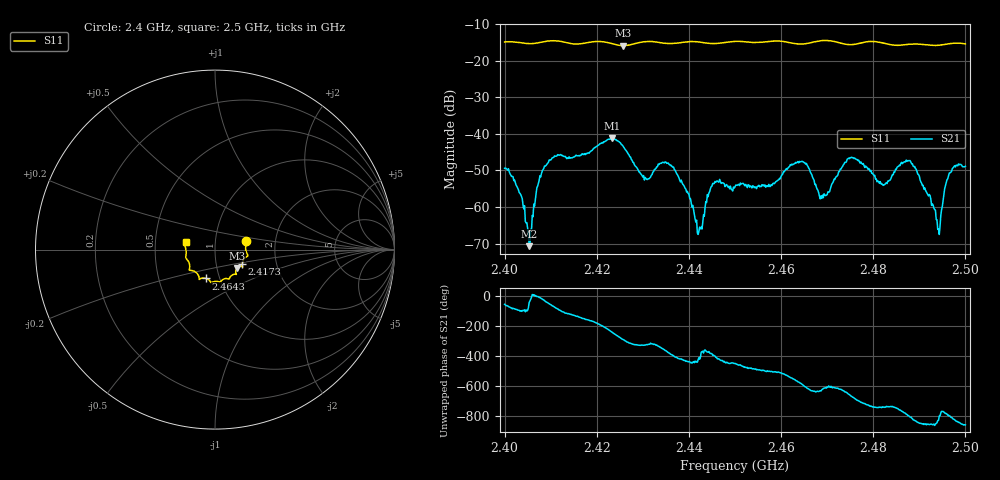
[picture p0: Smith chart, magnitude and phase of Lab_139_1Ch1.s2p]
# Hz S RI R 50
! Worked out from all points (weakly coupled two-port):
!   601 points, 2.4 GHz to 2.5 GHz, reference 50 ohm
!   highest |S21| = -41.19 dB at 2.4233 GHz (marker M1); lowest = -70.7 dB at 2.4053 GHz (marker M2)
!   lowest |S11| = -15.9 dB at 2.4257 GHz (marker M3), VSWR 1.38, Z = 62.5 - j13.1 ohm
!   |S11| at or under -10 dB: start of sweep to end of sweep
!   S12 and S22 are empty: the file has one direction only
!   S11 on the Smith chart (normalised r, x): 2.4 GHz: 1.41, +0.14; 2.4173 GHz: 1.34, -0.23; 2.4643 GHz: 0.86, -0.28; 2.5 GHz: 0.72, +0.06
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2.4e9  0.1733 0.0493  0.00188 -0.0028  0 0  0 0
2.405333e9  0.1704 0.0095  0.00021 -0.000203  0 0  0 0
2.408667e9  0.1805 -0.026  0.00309 -0.00193  0 0  0 0
2.416667e9  0.1529 -0.0746  -0.00425 -0.00286  0 0  0 0
2.417333e9  0.1521 -0.082  -0.00474 -0.00254  0 0  0 0
2.423333e9  0.1427 -0.0932  -0.00412 0.00768  0 0  0 0
2.425667e9  0.123 -0.1021  0.00222 0.00649  0 0  0 0
2.4305e9  0.1186 -0.1375  0.00213 0.00138  0 0  0 0
2.433333e9  0.113 -0.137  0.00346 0.00169  0 0  0 0
2.437e9  0.0875 -0.1485  0.00224 -0.00227  0 0  0 0
2.442333e9  0.0732 -0.1634  0.00026 -0.000464  0 0  0 0
2.445167e9  0.0543 -0.162  0.00173 -0.0012  0 0  0 0
2.45e9  0.0295 -0.1808  4.61e-05 -0.00189  0 0  0 0
2.464333e9  -0.0499 -0.1606  -0.00308 0.0028  0 0  0 0
2.466667e9  -0.0758 -0.1597  3.23e-05 0.00275  0 0  0 0
2.468833e9  -0.0872 -0.1661  -0.00014 0.00131  0 0  0 0
2.475e9  -0.106 -0.1265  0.00242 0.00407  0 0  0 0
2.483333e9  -0.1409 -0.0899  0.00215 -0.000665  0 0  0 0
2.488e9  -0.1599 -0.0505  0.000398 -0.00429  0 0  0 0
2.494167e9  -0.1618 0.00034  -0.000147 -0.000477  0 0  0 0
2.496333e9  -0.1682 0.0216  0.000818 -0.00252  0 0  0 0
2.5e9  -0.1638 0.0421  -0.00265 -0.00245  0 0  0 0
